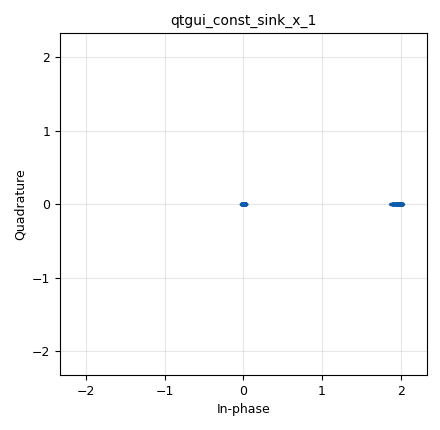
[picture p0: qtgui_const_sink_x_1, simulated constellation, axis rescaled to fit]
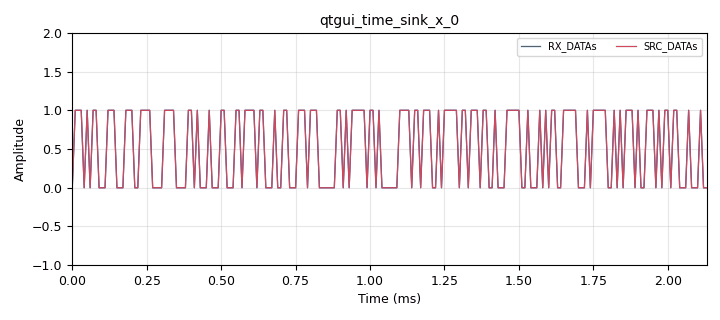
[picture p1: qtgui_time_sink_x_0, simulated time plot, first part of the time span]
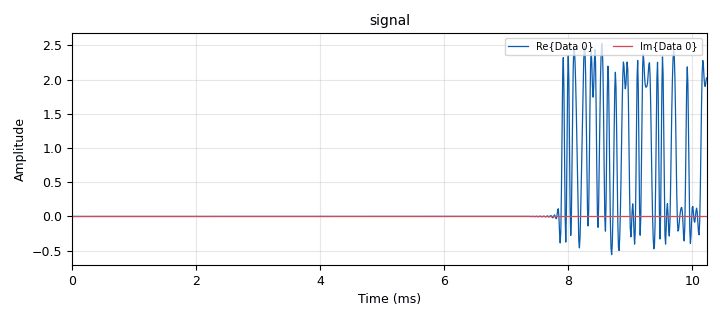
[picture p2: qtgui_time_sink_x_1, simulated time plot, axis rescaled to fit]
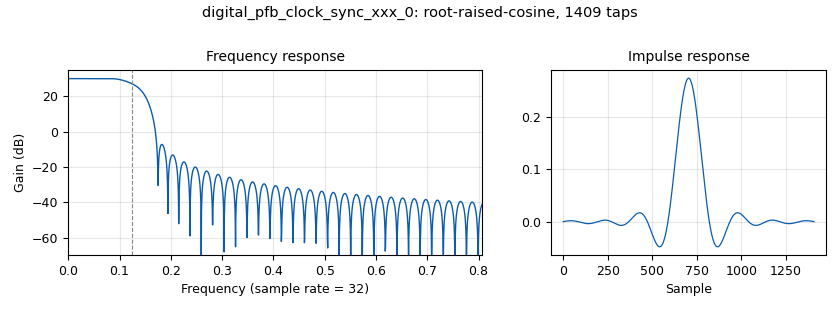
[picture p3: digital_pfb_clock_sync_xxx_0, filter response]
options:
  parameters:
    author: Tom Rondeau
    category: Custom
    description: Explore Soft Decoding of constellations. Selec the constellation from the available objects.
    generate_options: qt_gui
    id: ask_bpsk_qpsk_qam16
    output_language: python
    title: ask_bpsk_qpsk_qam16
  states: {}

blocks:
- name: arity
  id: variable
  parameters:
    value: '4'
  states: {}
- name: constel
  id: variable
  parameters:
    value: constel_ask
  states: {}
- name: constel_ask
  id: variable_constellation
  parameters:
    const_points: (0,1)
    dims: '1'
    normalization: digital.constellation.AMPLITUDE_NORMALIZATION
    precision: '8'
    rot_sym: '4'
    soft_dec_lut: '''auto'''
    sym_map: (0,1)
    type: calcdist
  states: {}
- name: constel_bpsk
  id: variable_constellation
  parameters:
    const_points: digital.psk_2()[0]
    dims: '1'
    normalization: digital.constellation.AMPLITUDE_NORMALIZATION
    precision: '8'
    rot_sym: '4'
    soft_dec_lut: '''auto'''
    sym_map: digital.psk_2()[1]
    type: calcdist
  states: {}
- name: constel_qam16
  id: variable_constellation
  parameters:
    const_points: digital.qam_16()[0]
    dims: '1'
    normalization: digital.constellation.AMPLITUDE_NORMALIZATION
    precision: '8'
    rot_sym: '4'
    soft_dec_lut: '''auto'''
    sym_map: digital.qam_16()[1]
    type: calcdist
  states: {}
- name: constel_qpsk
  id: variable_constellation
  parameters:
    const_points: digital.psk_4()[0]
    dims: '1'
    normalization: digital.constellation.AMPLITUDE_NORMALIZATION
    precision: '8'
    rot_sym: '4'
    soft_dec_lut: '''auto'''
    sym_map: digital.psk_4()[1]
    type: calcdist
  states: {}
- name: delay
  id: variable_qtgui_chooser
  parameters:
    gui_hint: 0,1,1,1
    label: Delay
    label0: BPSK
    label1: QPSK
    label2: QAM16
    label3: ASK
    num_opts: '4'
    option0: '29'
    option1: '58'
    option2: '116'
    option3: '29'
    type: int
    value: '29'
  states: {}
- name: gap_num
  id: variable
  parameters:
    value: '32'
  states: {}
- name: nfilts
  id: variable
  parameters:
    value: '32'
  states: {}
- name: noise_volt
  id: variable_qtgui_range
  parameters:
    gui_hint: 0,0,1,1
    label: 'Channel: Noise Voltage'
    start: '0'
    step: '0.01'
    stop: '1'
    value: '0.0001'
    widget: slider
  states: {}
- name: preamble
  id: variable
  parameters:
    comment: '[0xac, 0xdd, 0xa4, 0xe2, 0xf2, 0x8c, 0x20, 0xfc]'
    value: '[0xac, 0xdd, 0xa4, 0xe2, 0xf2, 0x8c, 0x20, 0xfc]'
  states: {}
- name: random_data_num
  id: variable
  parameters:
    value: '200'
  states: {}
- name: rrc_taps
  id: variable
  parameters:
    value: firdes.root_raised_cosine(nfilts, nfilts, 1.0/float(sps), 0.35, 11*sps*nfilts)
  states: {}
- name: samp_rate
  id: variable
  parameters:
    value: '100000'
  states: {}
- name: sps
  id: variable
  parameters:
    value: '4'
  states: {}
- name: analog_random_source_x_0
  id: analog_random_source_x
  parameters:
    max: '256'
    min: '0'
    num_samps: random_data_num
    repeat: 'True'
    type: byte
  states: {}
- name: blocks_char_to_float_0
  id: blocks_char_to_float
  parameters:
    scale: '1'
  states: {}
- name: blocks_char_to_float_0_0_0
  id: blocks_char_to_float
  parameters:
    scale: '1'
  states: {}
- name: blocks_delay_0
  id: blocks_delay
  parameters:
    delay: int(delay)
    type: byte
  states: {}
- name: blocks_null_source_0_0
  id: blocks_null_source
  parameters:
    type: byte
  states: {}
- name: blocks_stream_mux_0_0
  id: blocks_stream_mux
  parameters:
    comment: 流混合：len=((len(preamble)+len(data))*8*sps, gap)
    lengths: (len(preamble), random_data_num, gap_num)
    num_inputs: '3'
    type: byte
  states: {}
- name: blocks_throttle_0
  id: blocks_throttle
  parameters:
    samples_per_second: samp_rate
    type: byte
  states: {}
- name: blocks_unpack_k_bits_bb_0
  id: blocks_unpack_k_bits_bb
  parameters:
    k: constel.bits_per_symbol()
  states: {}
- name: blocks_unpack_k_bits_bb_0_0
  id: blocks_unpack_k_bits_bb
  parameters:
    k: '8'
  states: {}
- name: blocks_vector_source_x_0
  id: blocks_vector_source_x
  parameters:
    repeat: 'True'
    type: byte
    vector: preamble
  states: {}
- name: channels_channel_model_0
  id: channels_channel_model
  parameters:
    epsilon: '1.0'
    freq_offset: '0.0'
    noise_voltage: noise_volt
    seed: '0'
    taps: '1.0'
  states: {}
- name: digital_constellation_decoder_cb_0
  id: digital_constellation_decoder_cb
  parameters:
    constellation: constel
  states: {}
- name: digital_constellation_modulator_0
  id: digital_constellation_modulator
  parameters:
    constellation: constel
    differential: 'False'
    excess_bw: '0.35'
    samples_per_symbol: sps
  states: {}
- name: digital_map_bb_0_0
  id: digital_map_bb
  parameters:
    map: constel.pre_diff_code()
  states: {}
- name: digital_pfb_clock_sync_xxx_0
  id: digital_pfb_clock_sync_xxx
  parameters:
    filter_size: nfilts
    init_phase: nfilts/2
    loop_bw: 6.28/100.0
    max_dev: '1.5'
    osps: '1'
    sps: sps
    taps: rrc_taps
    type: ccf
  states: {}
- name: epy_block_0
  id: epy_block
  parameters:
    _source_code: |
      """
      Embedded Python Blocks:

      Each time this file is saved, GRC will instantiate the first class it finds
      to get ports and parameters of your block. The arguments to __init__  will
      be the parameters. All of them are required to have default values!
      """

      import numpy as np
      from gnuradio import gr


      class blk(gr.sync_block):  # other base classes are basic_block, decim_block, interp_block
          """Embedded Python Block example - a simple multiply const"""

          def __init__(self, preamble=[], random_data_num = 0, gap_num = 0):  # only default arguments here
              """arguments to this function show up as parameters in GRC"""
              gr.sync_block.__init__(
                  self,
                  name='Embedded Python Block',   # will show up in GRC
                  in_sig=[np.int8,np.int8],
                  out_sig=[np.int8,np.int8,np.float32]
              )
              # if an attribute with the same name as a parameter is found,
              # a callback is registered (properties work, too).
              self.preamble = preamble
              self.random_data_num = random_data_num
              self.gap_num = gap_num
              self.total_num = 0
              self.total_error_num = 0

          def work(self, input_items, output_items):
              """example: multiply with constant"""
              output_items[0][:] = input_items[0]
              output_items[1][:] = input_items[1]
              
              not_same_num = 0
              total_num = len(output_items[0])
              for i in range(total_num):
                  if output_items[0][i] != output_items[1][i]:
                      not_same_num = not_same_num + 1
              
              self.total_num = self.total_num + total_num
              self.total_error_num = self.total_error_num + not_same_num
              #print("this time error rate: %.2f%%"  %(not_same_num*100/total_num))
              
              output_items[2][0] = not_same_num*100/total_num
              for i in range(total_num):
                  output_items[2][i] = output_items[2][0]
                  
              return len(output_items[0])
    gap_num: gap_num
    preamble: preamble
    random_data_num: random_data_num
  states: {}
- name: error_rate_show
  id: qtgui_number_sink
  parameters:
    color1: ("blue", "red")
    graph_type: qtgui.NUM_GRAPH_HORIZ
    max: '100'
    min: '0'
    name: '"error rate"'
    type: float
    update_time: '0.01'
  states: {}
- name: import_cmath
  id: import
  parameters:
    imports: import cmath
  states: {}
- name: import_math
  id: import
  parameters:
    imports: import math
  states: {}
- name: note_auto
  id: note
  parameters:
    note: auto-build LUT
  states: {}
- name: qtgui_const_sink_x_1
  id: qtgui_const_sink_x
  parameters:
    gui_hint: 1,0,1,1
    name: ''
    size: '1024'
    type: complex
  states: {}
- name: qtgui_time_sink_x_0
  id: qtgui_time_sink_x
  parameters:
    gui_hint: 1,1,1,1
    label1: RX_DATAs
    label2: SRC_DATAs
    name: ''
    nconnections: '2'
    size: '10000'
    srate: samp_rate
    type: float
    update_time: '0.05'
    ymax: '2'
  states: {}
- name: qtgui_time_sink_x_1
  id: qtgui_time_sink_x
  parameters:
    name: '"signal"'
    size: '1024'
    srate: samp_rate
    type: complex
    ymax: '2'
    ymin: '-2'
  states: {}
- name: virtual_sink_0
  id: virtual_sink
  parameters:
    stream_id: src_sink
  states: {}
- name: virtual_source_0
  id: virtual_source
  parameters:
    stream_id: src_sink
  states: {}

connections:
- [analog_random_source_x_0, '0', blocks_stream_mux_0_0, '1']
- [blocks_char_to_float_0, '0', qtgui_time_sink_x_0, '0']
- [blocks_char_to_float_0_0_0, '0', qtgui_time_sink_x_0, '1']
- [blocks_delay_0, '0', epy_block_0, '1']
- [blocks_null_source_0_0, '0', blocks_stream_mux_0_0, '2']
- [blocks_stream_mux_0_0, '0', blocks_throttle_0, '0']
- [blocks_throttle_0, '0', virtual_sink_0, '0']
- [blocks_unpack_k_bits_bb_0, '0', epy_block_0, '0']
- [blocks_unpack_k_bits_bb_0_0, '0', blocks_delay_0, '0']
- [blocks_vector_source_x_0, '0', blocks_stream_mux_0_0, '0']
- [channels_channel_model_0, '0', digital_pfb_clock_sync_xxx_0, '0']
- [digital_constellation_decoder_cb_0, '0', digital_map_bb_0_0, '0']
- [digital_constellation_modulator_0, '0', channels_channel_model_0, '0']
- [digital_constellation_modulator_0, '0', qtgui_time_sink_x_1, '0']
- [digital_map_bb_0_0, '0', blocks_unpack_k_bits_bb_0, '0']
- [digital_pfb_clock_sync_xxx_0, '0', digital_constellation_decoder_cb_0, '0']
- [digital_pfb_clock_sync_xxx_0, '0', qtgui_const_sink_x_1, '0']
- [epy_block_0, '0', blocks_char_to_float_0, '0']
- [epy_block_0, '1', blocks_char_to_float_0_0_0, '0']
- [epy_block_0, '2', error_rate_show, '0']
- [virtual_source_0, '0', blocks_unpack_k_bits_bb_0_0, '0']
- [virtual_source_0, '0', digital_constellation_modulator_0, '0']

metadata:
  file_format: 1
  grc_version: 3.10.11.0
